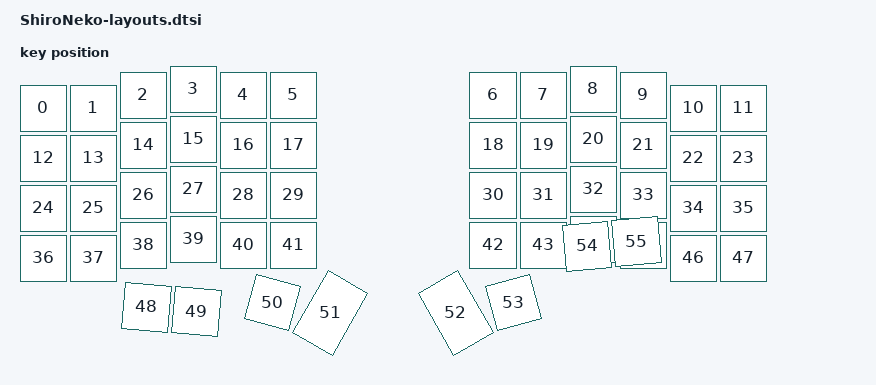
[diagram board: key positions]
#include <physical_layouts.dtsi>

/ {
    physical_layout0: physical_layout_0 {
        compatible = "zmk,physical-layout";
        display-name = "Default";

        kscan = <&kscan0>;
        transform = <&matrix_transform0>;

        keys  //                     w   h    x    y     rot    rx    ry
            = <&key_physical_attrs 100 100    0   38       0     0     0>
            , <&key_physical_attrs 100 100  100   38       0     0     0>
            , <&key_physical_attrs 100 100  200   12       0     0     0>
            , <&key_physical_attrs 100 100  300    0       0     0     0>
            , <&key_physical_attrs 100 100  400   12       0     0     0>
            , <&key_physical_attrs 100 100  500   12       0     0     0>
            , <&key_physical_attrs 100 100  900   12       0     0     0>
            , <&key_physical_attrs 100 100 1000   12       0     0     0>
            , <&key_physical_attrs 100 100 1100    0       0     0     0>
            , <&key_physical_attrs 100 100 1200   12       0     0     0>
            , <&key_physical_attrs 100 100 1300   38       0     0     0>
            , <&key_physical_attrs 100 100 1400   38       0     0     0>
            , <&key_physical_attrs 100 100    0  138       0     0     0>
            , <&key_physical_attrs 100 100  100  138       0     0     0>
            , <&key_physical_attrs 100 100  200  112       0     0     0>
            , <&key_physical_attrs 100 100  300  100       0     0     0>
            , <&key_physical_attrs 100 100  400  112       0     0     0>
            , <&key_physical_attrs 100 100  500  112       0     0     0>
            , <&key_physical_attrs 100 100  900  112       0     0     0>
            , <&key_physical_attrs 100 100 1000  112       0     0     0>
            , <&key_physical_attrs 100 100 1100  100       0     0     0>
            , <&key_physical_attrs 100 100 1200  112       0     0     0>
            , <&key_physical_attrs 100 100 1300  138       0     0     0>
            , <&key_physical_attrs 100 100 1400  138       0     0     0>
            , <&key_physical_attrs 100 100    0  238       0     0     0>
            , <&key_physical_attrs 100 100  100  238       0     0     0>
            , <&key_physical_attrs 100 100  200  212       0     0     0>
            , <&key_physical_attrs 100 100  300  200       0     0     0>
            , <&key_physical_attrs 100 100  400  212       0     0     0>
            , <&key_physical_attrs 100 100  500  212       0     0     0>
            , <&key_physical_attrs 100 100  900  212       0     0     0>
            , <&key_physical_attrs 100 100 1000  212       0     0     0>
            , <&key_physical_attrs 100 100 1100  200       0     0     0>
            , <&key_physical_attrs 100 100 1200  212       0     0     0>
            , <&key_physical_attrs 100 100 1300  238       0     0     0>
            , <&key_physical_attrs 100 100 1400  238       0     0     0>
            , <&key_physical_attrs 100 100    0  338       0     0     0>
            , <&key_physical_attrs 100 100  100  338       0     0     0>
            , <&key_physical_attrs 100 100  200  312       0     0     0>
            , <&key_physical_attrs 100 100  300  300       0     0     0>
            , <&key_physical_attrs 100 100  400  312       0     0     0>
            , <&key_physical_attrs 100 100  500  312       0     0     0>
            , <&key_physical_attrs 100 100  900  312       0     0     0>
            , <&key_physical_attrs 100 100 1000  312       0     0     0>
            , <&key_physical_attrs 100 100 1100  300       0     0     0>
            , <&key_physical_attrs 100 100 1200  312       0     0     0>
            , <&key_physical_attrs 100 100 1300  338       0     0     0>
            , <&key_physical_attrs 100 100 1400  338       0     0     0>
            , <&key_physical_attrs 100 100  248  412     500     0     0>
            , <&key_physical_attrs 100 100  348  412     500     0     0>
            , <&key_physical_attrs 100 100  348  412    1500   398   890>
            , <&key_physical_attrs 100 150  348  362    3000   398   890>
            , <&key_physical_attrs 100 150 1052  362 (-3000)  1102   890>
            , <&key_physical_attrs 100 100 1052  412 (-1500)  1102   890>
            , <&key_physical_attrs 100 100 1052  412  (-500)     0     0>
            , <&key_physical_attrs 100 100 1152  412  (-500)     0     0>
            ;
    };
    foostan_corne_lossless_position_map {
        compatible = "zmk,physical-layout-position-map";

        complete;

        twelve_map: twelve {
            physical-layout = <&physical_layout0>;
            positions
                = < 0  1  2  3  4  5  6  7  8  9 10 11>
                , <12 13 14 15 16 17 18 19 20 21 22 23>
                , <24 25 26 27 28 29 30 31 32 33 34 35>
                , <36 37 38 39 40 41 42 43 44 45 46 47>
                , <      47 48 49 50 51 52 53 54      >;
        };
    };
};
